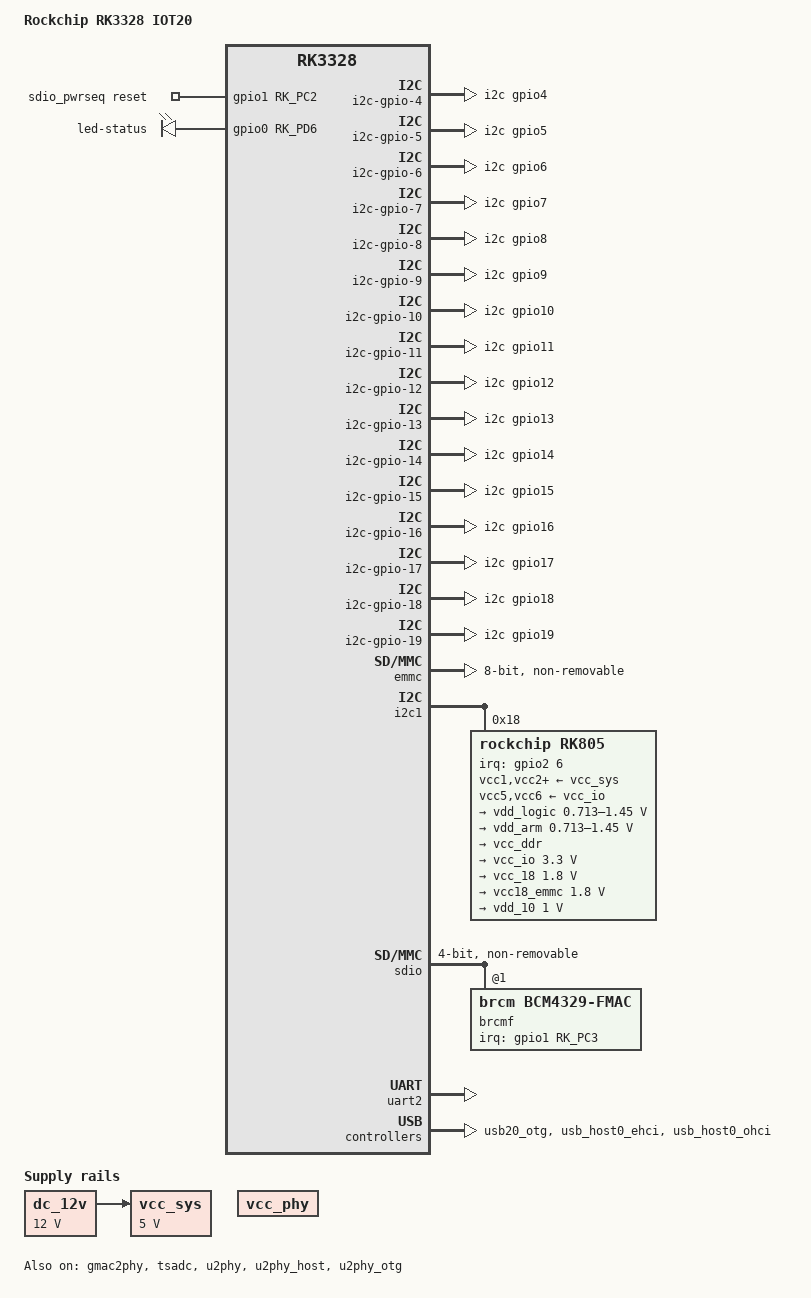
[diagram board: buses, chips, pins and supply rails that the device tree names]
// SPDX-License-Identifier: (GPL-2.0+ OR MIT)
/*
 * Copyright (c) 2017 Fuzhou Rockchip Electronics Co., Ltd
 */

/dts-v1/;
#include "rk3328.dtsi"

/ {
	model = "Rockchip RK3328 IOT20";
	compatible = "rockchip,rk3328-evb", "rockchip,rk3328";

	aliases {
		mmc0 = &sdmmc;
		mmc1 = &sdio;
		mmc2 = &emmc;
	};

	chosen {
		stdout-path = "serial2:1500000n8";
		bootargs = "earlycon=uart8250,mmio32,0xfe660000 console=ttyFIQ0";
	};

	dc_12v: dc-12v {
		compatible = "regulator-fixed";
		regulator-name = "dc_12v";
		regulator-always-on;
		regulator-boot-on;
		regulator-min-microvolt = <12000000>;
		regulator-max-microvolt = <12000000>;
	};

	sdio_pwrseq: sdio-pwrseq {
		compatible = "mmc-pwrseq-simple";
		clocks = <&rk805 1>;
		clock-names = "ext_clock";
		pinctrl-names = "default";
		pinctrl-0 = <&wifi_enable_h>;

		/*
		 * On the module itself this is one of these (depending
		 * on the actual card populated):
		 * - SDIO_RESET_L_WL_REG_ON
		 * - PDN (power down when low)
		 */
		reset-gpios = <&gpio1 RK_PC2 GPIO_ACTIVE_HIGH>;
	};

	vcc_sys: vcc-sys {
		compatible = "regulator-fixed";
		regulator-name = "vcc_sys";
		regulator-always-on;
		regulator-boot-on;
		regulator-min-microvolt = <5000000>;
		regulator-max-microvolt = <5000000>;
		vin-supply = <&dc_12v>;
	};

	vcc_phy: vcc-phy-regulator {
		compatible = "regulator-fixed";
		regulator-name = "vcc_phy";
		regulator-always-on;
		regulator-boot-on;
	};

	leds {
		compatible = "gpio-leds";

		led_status: led-status {
			label = "led-status";
			gpios = <&gpio0 RK_PD6 GPIO_ACTIVE_HIGH>;
			linux,default-trigger = "heartbeat";
			pinctrl-names = "default";
			pinctrl-0 = <&led_status_h>;
		};
	};

	i2c-gpio-4 {
		compatible = "i2c-gpio";
		gpios = <&gpio1 RK_PD2 GPIO_ACTIVE_HIGH>, /* sda */
				<&gpio2 RK_PA2 GPIO_ACTIVE_HIGH>; /* scl */
		i2c-gpio,sda-open-drain;
		i2c-gpio,scl-open-drain;
		i2c-gpio,delay-us = <2>;	/* ~100 kHz */
		#address-cells = <1>;
		#size-cells = <0>;
		pinctrl-names = "default";
		pinctrl-0 = <&pinctrl_i2c_gpio4>;
		status = "okay";
	};

	i2c-gpio-5 {
		compatible = "i2c-gpio";
		gpios = <&gpio1 RK_PD0 GPIO_ACTIVE_HIGH>, /* sda */
				<&gpio1 RK_PC6 GPIO_ACTIVE_HIGH>; /* scl */
		i2c-gpio,sda-open-drain;
		i2c-gpio,scl-open-drain;
		i2c-gpio,delay-us = <2>;	/* ~100 kHz */
		#address-cells = <1>;
		#size-cells = <0>;
		pinctrl-names = "default";
		pinctrl-0 = <&pinctrl_i2c_gpio5>;
		status = "okay";
	};

	i2c-gpio-6 {
		compatible = "i2c-gpio";
		gpios = <&gpio1 RK_PC7 GPIO_ACTIVE_HIGH>, /* sda */
				<&gpio1 RK_PB3 GPIO_ACTIVE_HIGH>; /* scl */
		i2c-gpio,sda-open-drain;
		i2c-gpio,scl-open-drain;
		i2c-gpio,delay-us = <2>;	/* ~100 kHz */
		#address-cells = <1>;
		#size-cells = <0>;
		pinctrl-names = "default";
		pinctrl-0 = <&pinctrl_i2c_gpio6>;
		status = "okay";
	};

	i2c-gpio-7 {
		compatible = "i2c-gpio";
		gpios = <&gpio1 RK_PB2 GPIO_ACTIVE_HIGH>, /* sda */
				<&gpio1 RK_PA2 GPIO_ACTIVE_HIGH>; /* scl */
		i2c-gpio,sda-open-drain;
		i2c-gpio,scl-open-drain;
		i2c-gpio,delay-us = <2>;	/* ~100 kHz */
		#address-cells = <1>;
		#size-cells = <0>;
		pinctrl-names = "default";
		pinctrl-0 = <&pinctrl_i2c_gpio7>;
		status = "okay";
	};

	i2c-gpio-8 {
		compatible = "i2c-gpio";
		gpios = <&gpio1 RK_PA3 GPIO_ACTIVE_HIGH>, /* sda */
				<&gpio1 RK_PA4 GPIO_ACTIVE_HIGH>; /* scl */
		i2c-gpio,sda-open-drain;
		i2c-gpio,scl-open-drain;
		i2c-gpio,delay-us = <2>;	/* ~100 kHz */
		#address-cells = <1>;
		#size-cells = <0>;
		pinctrl-names = "default";
		pinctrl-0 = <&pinctrl_i2c_gpio8>;
		status = "okay";
	};

	i2c-gpio-9 {
		compatible = "i2c-gpio";
		gpios = <&gpio1 RK_PA6 GPIO_ACTIVE_HIGH>, /* sda */
				<&gpio1 RK_PA0 GPIO_ACTIVE_HIGH>; /* scl */
		i2c-gpio,sda-open-drain;
		i2c-gpio,scl-open-drain;
		i2c-gpio,delay-us = <2>;	/* ~100 kHz */
		#address-cells = <1>;
		#size-cells = <0>;
		pinctrl-names = "default";
		pinctrl-0 = <&pinctrl_i2c_gpio9>;
		status = "okay";
	};

	i2c-gpio-10 {
		compatible = "i2c-gpio";
		gpios = <&gpio1 RK_PA1 GPIO_ACTIVE_HIGH>, /* sda */
				<&gpio1 RK_PA5 GPIO_ACTIVE_HIGH>; /* scl */
		i2c-gpio,sda-open-drain;
		i2c-gpio,scl-open-drain;
		i2c-gpio,delay-us = <2>;	/* ~100 kHz */
		#address-cells = <1>;
		#size-cells = <0>;
		pinctrl-names = "default";
		pinctrl-0 = <&pinctrl_i2c_gpio10>;
		status = "okay";
	};

	i2c-gpio-11 {
		compatible = "i2c-gpio";
		gpios = <&gpio2 RK_PC5 GPIO_ACTIVE_HIGH>, /* sda */
				<&gpio2 RK_PC6 GPIO_ACTIVE_HIGH>; /* scl */
		i2c-gpio,sda-open-drain;
		i2c-gpio,scl-open-drain;
		i2c-gpio,delay-us = <2>;	/* ~100 kHz */
		#address-cells = <1>;
		#size-cells = <0>;
		pinctrl-names = "default";
		pinctrl-0 = <&pinctrl_i2c_gpio11>;
		status = "okay";
	};

	i2c-gpio-12 {
		compatible = "i2c-gpio";
		gpios = <&gpio2 RK_PC7 GPIO_ACTIVE_HIGH>, /* sda */
				<&gpio2 RK_PC4 GPIO_ACTIVE_HIGH>; /* scl */
		i2c-gpio,sda-open-drain;
		i2c-gpio,scl-open-drain;
		i2c-gpio,delay-us = <2>;	/* ~100 kHz */
		#address-cells = <1>;
		#size-cells = <0>;
		pinctrl-names = "default";
		pinctrl-0 = <&pinctrl_i2c_gpio12>;
		status = "okay";
	};

	i2c-gpio-13 {
		compatible = "i2c-gpio";
		gpios = <&gpio2 RK_PC1 GPIO_ACTIVE_HIGH>, /* sda */
				<&gpio2 RK_PC0 GPIO_ACTIVE_HIGH>; /* scl */
		i2c-gpio,sda-open-drain;
		i2c-gpio,scl-open-drain;
		i2c-gpio,delay-us = <2>;	/* ~100 kHz */
		#address-cells = <1>;
		#size-cells = <0>;
		pinctrl-names = "default";
		pinctrl-0 = <&pinctrl_i2c_gpio13>;
		status = "okay";
	};

	i2c-gpio-14 {
		compatible = "i2c-gpio";
		gpios = <&gpio2 RK_PB7 GPIO_ACTIVE_HIGH>, /* sda */
				<&gpio2 RK_PC2 GPIO_ACTIVE_HIGH>; /* scl */
		i2c-gpio,sda-open-drain;
		i2c-gpio,scl-open-drain;
		i2c-gpio,delay-us = <2>;	/* ~100 kHz */
		#address-cells = <1>;
		#size-cells = <0>;
		pinctrl-names = "default";
		pinctrl-0 = <&pinctrl_i2c_gpio14>;
		status = "okay";
	};

	i2c-gpio-15 {
		compatible = "i2c-gpio";
		gpios = <&gpio3 RK_PA5 GPIO_ACTIVE_HIGH>, /* sda */
				<&gpio3 RK_PA4 GPIO_ACTIVE_HIGH>; /* scl */
		i2c-gpio,sda-open-drain;
		i2c-gpio,scl-open-drain;
		i2c-gpio,delay-us = <2>;	/* ~100 kHz */
		#address-cells = <1>;
		#size-cells = <0>;
		pinctrl-names = "default";
		pinctrl-0 = <&pinctrl_i2c_gpio15>;
		status = "okay";
	};

	i2c-gpio-16 {
		compatible = "i2c-gpio";
		gpios = <&gpio3 RK_PA7 GPIO_ACTIVE_HIGH>, /* sda */
				<&gpio3 RK_PA6 GPIO_ACTIVE_HIGH>; /* scl */
		i2c-gpio,sda-open-drain;
		i2c-gpio,scl-open-drain;
		i2c-gpio,delay-us = <2>;	/* ~100 kHz */
		#address-cells = <1>;
		#size-cells = <0>;
		pinctrl-names = "default";
		pinctrl-0 = <&pinctrl_i2c_gpio16>;
		status = "okay";
	};

	i2c-gpio-17 {
		compatible = "i2c-gpio";
		gpios = <&gpio3 RK_PA1 GPIO_ACTIVE_HIGH>, /* sda */
				<&gpio3 RK_PB0 GPIO_ACTIVE_HIGH>; /* scl */
		i2c-gpio,sda-open-drain;
		i2c-gpio,scl-open-drain;
		i2c-gpio,delay-us = <2>;	/* ~100 kHz */
		#address-cells = <1>;
		#size-cells = <0>;
		pinctrl-names = "default";
		pinctrl-0 = <&pinctrl_i2c_gpio17>;
		status = "okay";
	};

	i2c-gpio-18 {
		compatible = "i2c-gpio";
		gpios = <&gpio3 RK_PA0 GPIO_ACTIVE_HIGH>, /* sda */
				<&gpio3 RK_PA2 GPIO_ACTIVE_HIGH>; /* scl */
		i2c-gpio,sda-open-drain;
		i2c-gpio,scl-open-drain;
		i2c-gpio,delay-us = <2>;	/* ~100 kHz */
		#address-cells = <1>;
		#size-cells = <0>;
		pinctrl-names = "default";
		pinctrl-0 = <&pinctrl_i2c_gpio18>;
		status = "okay";
	};

	i2c-gpio-19 {
		compatible = "i2c-gpio";
		gpios = <&gpio0 RK_PA0 GPIO_ACTIVE_HIGH>, /* sda */
				<&gpio0 RK_PA2 GPIO_ACTIVE_HIGH>; /* scl */
		i2c-gpio,sda-open-drain;
		i2c-gpio,scl-open-drain;
		i2c-gpio,delay-us = <2>;	/* ~100 kHz */
		#address-cells = <1>;
		#size-cells = <0>;
		pinctrl-names = "default";
		pinctrl-0 = <&pinctrl_i2c_gpio19>;
		status = "okay";
	};

};

&cpu0 {
	cpu-supply = <&vdd_arm>;
};

&cpu1 {
	cpu-supply = <&vdd_arm>;
};

&cpu2 {
	cpu-supply = <&vdd_arm>;
};

&cpu3 {
	cpu-supply = <&vdd_arm>;
};

&emmc {
	bus-width = <8>;
	cap-mmc-highspeed;
	non-removable;
	pinctrl-names = "default";
	pinctrl-0 = <&emmc_clk &emmc_cmd &emmc_bus8>;
	status = "okay";
};

&gmac2phy {
	phy-supply = <&vcc_phy>;
	clock_in_out = "output";
	assigned-clock-rate = <50000000>;
	assigned-clocks = <&cru SCLK_MAC2PHY>;
	assigned-clock-parents = <&cru SCLK_MAC2PHY_SRC>;
	status = "okay";
};

&i2c1 {
	status = "okay";

	rk805: pmic@18 {
		compatible = "rockchip,rk805";
		reg = <0x18>;
		interrupt-parent = <&gpio2>;
		interrupts = <6 IRQ_TYPE_LEVEL_LOW>;
		#clock-cells = <1>;
		clock-output-names = "xin32k", "rk805-clkout2";
		gpio-controller;
		#gpio-cells = <2>;
		pinctrl-names = "default";
		pinctrl-0 = <&pmic_int_l>;
		rockchip,system-power-controller;
		wakeup-source;

		vcc1-supply = <&vcc_sys>;
		vcc2-supply = <&vcc_sys>;
		vcc3-supply = <&vcc_sys>;
		vcc4-supply = <&vcc_sys>;
		vcc5-supply = <&vcc_io>;
		vcc6-supply = <&vcc_io>;

		regulators {
			vdd_logic: DCDC_REG1 {
				regulator-name = "vdd_logic";
				regulator-min-microvolt = <712500>;
				regulator-max-microvolt = <1450000>;
				regulator-always-on;
				regulator-boot-on;
				regulator-state-mem {
					regulator-on-in-suspend;
					regulator-suspend-microvolt = <1000000>;
				};
			};

			vdd_arm: DCDC_REG2 {
				regulator-name = "vdd_arm";
				regulator-min-microvolt = <712500>;
				regulator-max-microvolt = <1450000>;
				regulator-always-on;
				regulator-boot-on;
				regulator-state-mem {
					regulator-on-in-suspend;
					regulator-suspend-microvolt = <950000>;
				};
			};

			vcc_ddr: DCDC_REG3 {
				regulator-name = "vcc_ddr";
				regulator-always-on;
				regulator-boot-on;
				regulator-state-mem {
					regulator-on-in-suspend;
				};
			};

			vcc_io: DCDC_REG4 {
				regulator-name = "vcc_io";
				regulator-min-microvolt = <3300000>;
				regulator-max-microvolt = <3300000>;
				regulator-always-on;
				regulator-boot-on;
				regulator-state-mem {
					regulator-on-in-suspend;
					regulator-suspend-microvolt = <3300000>;
				};
			};

			vcc_18: LDO_REG1 {
				regulator-name = "vcc_18";
				regulator-min-microvolt = <1800000>;
				regulator-max-microvolt = <1800000>;
				regulator-always-on;
				regulator-boot-on;
				regulator-state-mem {
					regulator-on-in-suspend;
					regulator-suspend-microvolt = <1800000>;
				};
			};

			vcc18_emmc: LDO_REG2 {
				regulator-name = "vcc18_emmc";
				regulator-min-microvolt = <1800000>;
				regulator-max-microvolt = <1800000>;
				regulator-always-on;
				regulator-boot-on;
				regulator-state-mem {
					regulator-on-in-suspend;
					regulator-suspend-microvolt = <1800000>;
				};
			};

			vdd_10: LDO_REG3 {
				regulator-name = "vdd_10";
				regulator-min-microvolt = <1000000>;
				regulator-max-microvolt = <1000000>;
				regulator-always-on;
				regulator-boot-on;
				regulator-state-mem {
					regulator-on-in-suspend;
					regulator-suspend-microvolt = <1000000>;
				};
			};
		};
	};
};

&pinctrl {
	pmic {
		pmic_int_l: pmic-int-l {
			rockchip,pins = <2 RK_PA6 RK_FUNC_GPIO &pcfg_pull_up>;
		};
	};

	sdio-pwrseq {
		wifi_enable_h: wifi-enable-h {
		rockchip,pins =
			<1 RK_PC2 RK_FUNC_GPIO &pcfg_pull_none>;
		};
	};

	gmac2phy {
		fephyled_duplex: fephyled-duplex {
			rockchip,pins = <0 RK_PD6 2 &pcfg_pull_none>;
		};

		fephyled_rxm1: fephyled-rxm1 {
			rockchip,pins = <2 RK_PD1 2 &pcfg_pull_none>;
		};

	};

	leds {
		led_status_h: led-status-h {
			rockchip,pins = <0 RK_PD6 RK_FUNC_GPIO &pcfg_pull_none>;
		};
	};

	i2c_gpio4 {
		pinctrl_i2c_gpio4: i2c_gpio4-0 {
			rockchip,pins =
				<1 RK_PD2 RK_FUNC_GPIO &pcfg_pull_up>,
				<2 RK_PA2 RK_FUNC_GPIO &pcfg_pull_up>;
		};
	};


	i2c_gpio5 {
		pinctrl_i2c_gpio5: i2c_gpio5-0 {
			rockchip,pins =
				<1 RK_PD0 RK_FUNC_GPIO &pcfg_pull_up>,
				<1 RK_PC6 RK_FUNC_GPIO &pcfg_pull_up>;
		};
	};


	i2c_gpio6 {
		pinctrl_i2c_gpio6: i2c_gpio6-0 {
			rockchip,pins =
				<1 RK_PC7 RK_FUNC_GPIO &pcfg_pull_up>,
				<1 RK_PC3 RK_FUNC_GPIO &pcfg_pull_up>;
		};
	};


	i2c_gpio7 {
		pinctrl_i2c_gpio7: i2c_gpio7-0 {
			rockchip,pins =
				<1 RK_PB2 RK_FUNC_GPIO &pcfg_pull_up>,
				<1 RK_PA2 RK_FUNC_GPIO &pcfg_pull_up>;
		};
	};


	i2c_gpio8 {
		pinctrl_i2c_gpio8: i2c_gpio8-0 {
			rockchip,pins =
				<1 RK_PA3 RK_FUNC_GPIO &pcfg_pull_up>,
				<1 RK_PA4 RK_FUNC_GPIO &pcfg_pull_up>;
		};
	};


	i2c_gpio9 {
		pinctrl_i2c_gpio9: i2c_gpio9-0 {
			rockchip,pins =
				<1 RK_PA6 RK_FUNC_GPIO &pcfg_pull_up>,
				<1 RK_PA0 RK_FUNC_GPIO &pcfg_pull_up>;
		};
	};


	i2c_gpio10 {
		pinctrl_i2c_gpio10: i2c_gpio10-0 {
			rockchip,pins =
				<1 RK_PA1 RK_FUNC_GPIO &pcfg_pull_up>,
				<1 RK_PA5 RK_FUNC_GPIO &pcfg_pull_up>;
		};
	};


	i2c_gpio11 {
		pinctrl_i2c_gpio11: i2c_gpio11-0 {
			rockchip,pins =
				<2 RK_PC5 RK_FUNC_GPIO &pcfg_pull_up>,
				<2 RK_PC6 RK_FUNC_GPIO &pcfg_pull_up>;
		};
	};


	i2c_gpio12 {
		pinctrl_i2c_gpio12: i2c_gpio12-0 {
			rockchip,pins =
				<2 RK_PC7 RK_FUNC_GPIO &pcfg_pull_up>,
				<2 RK_PC4 RK_FUNC_GPIO &pcfg_pull_up>;
		};
	};


	i2c_gpio13 {
		pinctrl_i2c_gpio13: i2c_gpio13-0 {
			rockchip,pins =
				<2 RK_PC1 RK_FUNC_GPIO &pcfg_pull_up>,
				<2 RK_PC0 RK_FUNC_GPIO &pcfg_pull_up>;
		};
	};


	i2c_gpio14 {
		pinctrl_i2c_gpio14: i2c_gpio14-0 {
			rockchip,pins =
				<2 RK_PB7 RK_FUNC_GPIO &pcfg_pull_up>,
				<2 RK_PC2 RK_FUNC_GPIO &pcfg_pull_up>;
		};
	};


	i2c_gpio15 {
		pinctrl_i2c_gpio15: i2c_gpio15-0 {
			rockchip,pins =
				<3 RK_PA5 RK_FUNC_GPIO &pcfg_pull_up>,
				<3 RK_PA4 RK_FUNC_GPIO &pcfg_pull_up>;
		};
	};


	i2c_gpio16 {
		pinctrl_i2c_gpio16: i2c_gpio16-0 {
			rockchip,pins =
				<3 RK_PA7 RK_FUNC_GPIO &pcfg_pull_up>,
				<3 RK_PA6 RK_FUNC_GPIO &pcfg_pull_up>;
		};
	};


	i2c_gpio17 {
		pinctrl_i2c_gpio17: i2c_gpio17-0 {
			rockchip,pins =
				<3 RK_PA1 RK_FUNC_GPIO &pcfg_pull_up>,
				<3 RK_PB0 RK_FUNC_GPIO &pcfg_pull_up>;
		};
	};


	i2c_gpio18 {
		pinctrl_i2c_gpio18: i2c_gpio18-0 {
			rockchip,pins =
				<3 RK_PA0 RK_FUNC_GPIO &pcfg_pull_up>,
				<3 RK_PA2 RK_FUNC_GPIO &pcfg_pull_up>;
		};
	};


	i2c_gpio19 {
		pinctrl_i2c_gpio19: i2c_gpio19-0 {
			rockchip,pins =
				<0 RK_PA0 RK_FUNC_GPIO &pcfg_pull_up>,
				<0 RK_PA2 RK_FUNC_GPIO &pcfg_pull_up>;
		};
	};

};

&sdio {
	bus-width = <4>;
	cap-sd-highspeed;
	cap-sdio-irq;
	keep-power-in-suspend;
	max-frequency = <150000000>;
	mmc-pwrseq = <&sdio_pwrseq>;
	non-removable;
	pinctrl-names = "default";
	pinctrl-0 = <&sdmmc1_bus4 &sdmmc1_cmd &sdmmc1_clk>;
	status = "okay";

	brcmf: bcrmf@1 {
		reg = <1>;
		compatible = "brcm,bcm4329-fmac";
		interrupt-parent = <&gpio1>;
		interrupts = <RK_PC3 IRQ_TYPE_LEVEL_HIGH>;
		interrupt-names = "host-wake";
	};

};


&tsadc {
	status = "okay";
};

&uart2 {
	status = "okay";
};

&u2phy {
	status = "okay";
};

&u2phy_host {
	status = "okay";
};

&u2phy_otg {
	status = "okay";
};

&usb20_otg {
	status = "okay";
};

&usb_host0_ehci {
	status = "okay";
};

&usb_host0_ohci {
	status = "okay";
};

